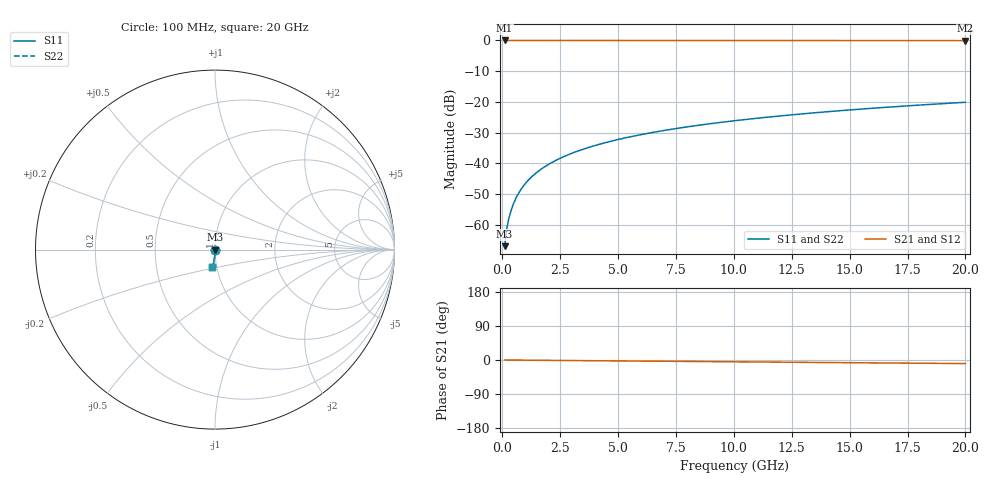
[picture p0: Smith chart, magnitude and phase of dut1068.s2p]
! Touchstone file exported from HFSS 2026.1.0
!  File:  C:/ffzhzh/LocalFiles/Ansys_Project_Files/temp_train_TSV_1068_1783189845_51560.aedt
!  Generated:  02:32:20 AM Jul  5, 2026
!  Design:  TSV
!  Project:  temp_train_TSV_1068_1783189845_51560
! Variables:
!  h_bsmrdl = 2um
!  h_ox = 20um
!  h_rdl = 5um
!  h_sub = 81.41um
!  h_tmrdl = 5um
!  h_tsv = 81.41um
!  h_via = 3um
!  l_bsmrdl = 300um
!  l_sub = 426.02um
!  l_tmrdl = 200um
!  m_sub = 200um
!  pitch = 32.05um
!  r_tsv = 13.01um
!  s_tmrdl = 10um
!  w_bsmrdl = 18um
!  w_sub = 500um
!  w_tmrdl = 12um
!  x_tsv_center1 = 206um
!  x_tsv_center2 = 524um
!  x_tsv_center3 = 736um
!  x_tsv_center4 = 1054um
!  x_tsv_center5 = 1266um
!  x_tsv_center6 = 1584um
# GHz S MA R 50.000000
! Terminal data exported
! Port[1] = TSV1_1_T1
! Port[2] = TSV1_1_T2
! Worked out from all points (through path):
!   200 points, 100 MHz to 20 GHz, reference 50 ohm
!   highest |S21| = 0.00 dB at 100 MHz (marker M1); lowest = -0.1 dB at 20 GHz (marker M2)
!   group delay of S21, straight-line fit = 1.31 ps
!   lowest |S11| = -66.9 dB at 100 MHz (marker M3), VSWR 1.00, Z = 50 - j0.044 ohm
!   |S11| at or under -10 dB: start of sweep to end of sweep
!   |S22| runs from -66.9 to -20.1 dB; largest |S21 - S12| = 4.6e-15
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0.1  0.0004516 -77.0  0.9999 -0.1  0.9999 -0.1  0.0004516 -77.0
! Gamma 0 0 0 0
! Port Impedance 50 0 50 0
0.2  0.000894 -82.3  0.9999 -0.1  0.9999 -0.1  0.000894 -82.3
0.3  0.001349 -83.8  0.9998 -0.2  0.9998 -0.2  0.001349 -83.8
0.4  0.001815 -84.4  0.9998 -0.2  0.9998 -0.2  0.001815 -84.4
0.5  0.002291 -84.9  0.9998 -0.2  0.9998 -0.2  0.002291 -84.9
0.7  0.00326 -85.6  0.9997 -0.3  0.9997 -0.3  0.00326 -85.6
0.8  0.00375 -85.9  0.9997 -0.4  0.9997 -0.4  0.00375 -85.9
1  0.004735 -86.4  0.9997 -0.5  0.9997 -0.5  0.004735 -86.4
1.2  0.005723 -86.9  0.9996 -0.6  0.9996 -0.6  0.005723 -86.9
1.4  0.006711 -87.3  0.9996 -0.7  0.9996 -0.7  0.006711 -87.3
1.7  0.008193 -87.9  0.9995 -0.8  0.9995 -0.8  0.008193 -87.9
2  0.009673 -88.3  0.9995 -1.0  0.9995 -1.0  0.009673 -88.3
2.7  0.01313 -89.1  0.9994 -1.3  0.9994 -1.3  0.01313 -89.1
3.5  0.01708 -89.7  0.9993 -1.7  0.9993 -1.7  0.01708 -89.7
4.2  0.02054 -90.2  0.9992 -2.0  0.9992 -2.0  0.02054 -90.2
5  0.02451 -90.8  0.999 -2.4  0.999 -2.4  0.02451 -90.8
6.8  0.03345 -91.8  0.9986 -3.2  0.9986 -3.2  0.03345 -91.8
8.3  0.04091 -92.7  0.9982 -4.0  0.9982 -4.0  0.04091 -92.7
10.1  0.04985 -93.6  0.9977 -4.8  0.9977 -4.8  0.04985 -93.7
13.4  0.06621 -95.4  0.9966 -6.4  0.9966 -6.4  0.06621 -95.4
16.7  0.0825 -97.0  0.9953 -7.9  0.9953 -7.9  0.0825 -97.0
20  0.09872 -98.6  0.9937 -9.5  0.9937 -9.5  0.09872 -98.6
